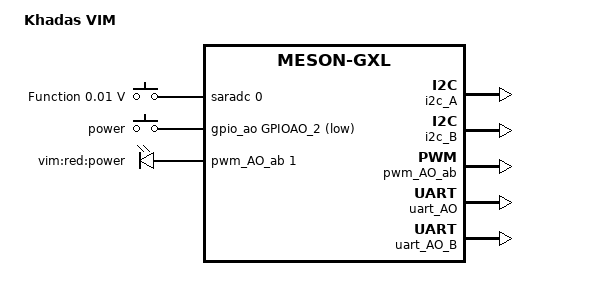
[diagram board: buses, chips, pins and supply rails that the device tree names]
/*
 * Copyright (c) 2017 Martin Blumenstingl <martin.blumenstingl@googlemail.com>.
 *
 * This file is dual-licensed: you can use it either under the terms
 * of the GPL or the X11 license, at your option. Note that this dual
 * licensing only applies to this file, and not this project as a
 * whole.
 *
 *  a) This library is free software; you can redistribute it and/or
 *     modify it under the terms of the GNU General Public License as
 *     published by the Free Software Foundation; either version 2 of the
 *     License, or (at your option) any later version.
 *
 *     This library is distributed in the hope that it will be useful,
 *     but WITHOUT ANY WARRANTY; without even the implied warranty of
 *     MERCHANTABILITY or FITNESS FOR A PARTICULAR PURPOSE.  See the
 *     GNU General Public License for more details.
 *
 * Or, alternatively,
 *
 *  b) Permission is hereby granted, free of charge, to any person
 *     obtaining a copy of this software and associated documentation
 *     files (the "Software"), to deal in the Software without
 *     restriction, including without limitation the rights to use,
 *     copy, modify, merge, publish, distribute, sublicense, and/or
 *     sell copies of the Software, and to permit persons to whom the
 *     Software is furnished to do so, subject to the following
 *     conditions:
 *
 *     The above copyright notice and this permission notice shall be
 *     included in all copies or substantial portions of the Software.
 *
 *     THE SOFTWARE IS PROVIDED "AS IS", WITHOUT WARRANTY OF ANY KIND,
 *     EXPRESS OR IMPLIED, INCLUDING BUT NOT LIMITED TO THE WARRANTIES
 *     OF MERCHANTABILITY, FITNESS FOR A PARTICULAR PURPOSE AND
 *     NONINFRINGEMENT. IN NO EVENT SHALL THE AUTHORS OR COPYRIGHT
 *     HOLDERS BE LIABLE FOR ANY CLAIM, DAMAGES OR OTHER LIABILITY,
 *     WHETHER IN AN ACTION OF CONTRACT, TORT OR OTHERWISE, ARISING
 *     FROM, OUT OF OR IN CONNECTION WITH THE SOFTWARE OR THE USE OR
 *     OTHER DEALINGS IN THE SOFTWARE.
 */

/dts-v1/;

#include <dt-bindings/input/input.h>

#include "meson-gxl-s905x-p212.dtsi"

/ {
	compatible = "khadas,vim", "amlogic,s905x", "amlogic,meson-gxl";
	model = "Khadas VIM";

	adc-keys {
		compatible = "adc-keys";
		io-channels = <&saradc 0>;
		io-channel-names = "buttons";
		keyup-threshold-microvolt = <1710000>;

		button-function {
			label = "Function";
			linux,code = <KEY_FN>;
			press-threshold-microvolt = <10000>;
		};
	};

	aliases {
		serial2 = &uart_AO_B;
	};

	gpio-keys-polled {
		compatible = "gpio-keys-polled";
		#address-cells = <1>;
		#size-cells = <0>;
		poll-interval = <100>;

		button@0 {
			label = "power";
			linux,code = <KEY_POWER>;
			gpios = <&gpio_ao GPIOAO_2 GPIO_ACTIVE_LOW>;
		};
	};

	pwmleds {
		compatible = "pwm-leds";

		power {
			label = "vim:red:power";
			pwms = <&pwm_AO_ab 1 7812500 0>;
			max-brightness = <255>;
			linux,default-trigger = "default-on";
		};
	};
};

&i2c_A {
	status = "okay";
	pinctrl-0 = <&i2c_a_pins>;
	pinctrl-names = "default";
};

&i2c_B {
	status = "okay";
	pinctrl-0 = <&i2c_b_pins>;
	pinctrl-names = "default";

	rtc: rtc@51 {
		/* has to be enabled manually when a battery is connected: */
		status = "disabled";
		compatible = "haoyu,hym8563";
		reg = <0x51>;
		#clock-cells = <0>;
		clock-frequency = <32768>;
		clock-output-names = "xin32k";
	};
};

&ir {
	linux,rc-map-name = "rc-geekbox";
};

&pwm_AO_ab {
	status = "okay";
	pinctrl-0 = <&pwm_ao_b_pins>;
	pinctrl-names = "default";
	clocks = <&clkc CLKID_FCLK_DIV4>;
	clock-names = "clkin0";
};

/* This is brought out on the Linux_RX (18) and Linux_TX (19) pins: */
&uart_AO {
	status = "okay";
};

/* This is brought out on the UART_RX_AO_B (15) and UART_TX_AO_B (16) pins: */
&uart_AO_B {
	status = "okay";
	pinctrl-0 = <&uart_ao_b_pins>;
	pinctrl-names = "default";
};
